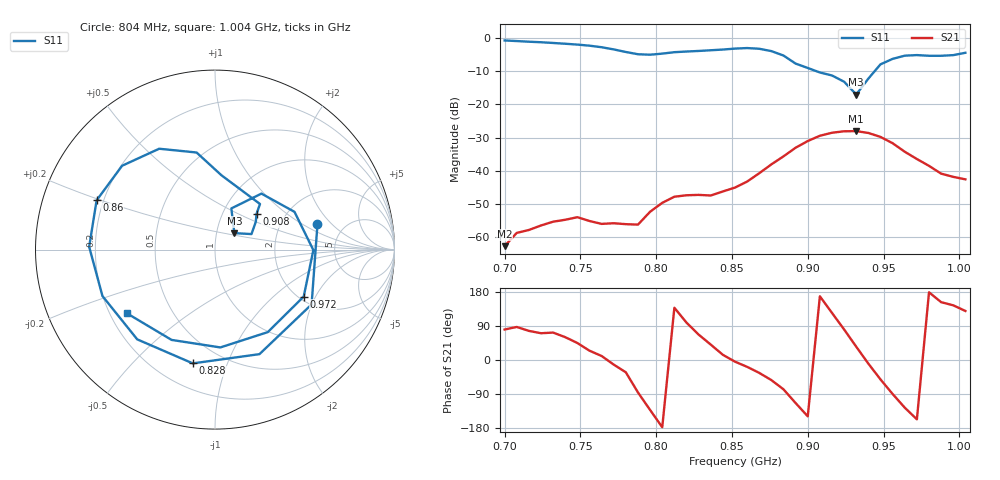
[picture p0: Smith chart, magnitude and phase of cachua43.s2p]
# Hz S RI R 50
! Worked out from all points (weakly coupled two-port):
!   39 points, 700 MHz to 1.004 GHz, reference 50 ohm
!   highest |S21| = -28.06 dB at 932 MHz (marker M1); lowest = -62.9 dB at 700 MHz (marker M2)
!   lowest |S11| = -17.0 dB at 932 MHz (marker M3), VSWR 1.33, Z = 60.9 + j11.4 ohm
!   |S11| at or under -10 dB: 906.2 MHz to 944 MHz (37.81 MHz wide, 4.09 % of centre)
!   S12 and S22 are empty: the file has one direction only
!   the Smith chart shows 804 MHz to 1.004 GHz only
!   S11 on the Smith chart (normalised r, x): 804 MHz: 3.20, +1.39; 828 MHz: 0.35, -0.76; 860 MHz: 0.17, +0.19; 908 MHz: 1.44, +0.63; 972 MHz: 2.12, -1.61; 1.004 GHz: 0.27, -0.30
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7e8  0.767 0.528  0.000119 0.000708  0 0  0 0
7.24e8  0.8342 -0.2643  0.000489 0.00139  0 0  0 0
7.4e8  0.4418 -0.703  0.000895 0.00157  0 0  0 0
7.56e8  -0.1962 -0.751  0.00157 0.000719  0 0  0 0
7.72e8  -0.6545 -0.19  0.00156 -0.000337  0 0  0 0
7.8e8  -0.5774 0.2339  0.0013 -0.000832  0 0  0 0
7.88e8  -0.2239 0.5306  0.000114 -0.00152  0 0  0 0
7.96e8  0.2627 0.5021  -0.00159 -0.00178  0 0  0 0
8.04e8  0.571 0.1425  -0.00325 -0.000147  0 0  0 0
8.2e8  0.2478 -0.5824  -0.000636 0.00419  0 0  0 0
8.28e8  -0.1237 -0.6339  0.00167 0.00395  0 0  0 0
8.52e8  -0.7011 0.0157  0.00552 -0.000423  0 0  0 0
8.6e8  -0.6596 0.2746  0.00648 -0.00212  0 0  0 0
8.76e8  -0.311 0.562  0.00747 -0.00992  0 0  0 0
9e8  0.2507 0.2541  -0.0239 -0.0145  0 0  0 0
9.08e8  0.2314 0.199  -0.0329 0.00693  0 0  0 0
9.32e8  0.1079 0.0916  0.0324 0.0227  0 0  0 0
9.48e8  0.2588 0.312  0.0202 -0.0252  0 0  0 0
9.56e8  0.4429 0.2103  0.000121 -0.0259  0 0  0 0
9.72e8  0.4942 -0.2616  -0.0137 -0.00594  0 0  0 0
9.88e8  0.0298 -0.5451  -0.00798 0.00414  0 0  0 0
1.004e9  -0.4918 -0.3543  -0.00468 0.0057  0 0  0 0
